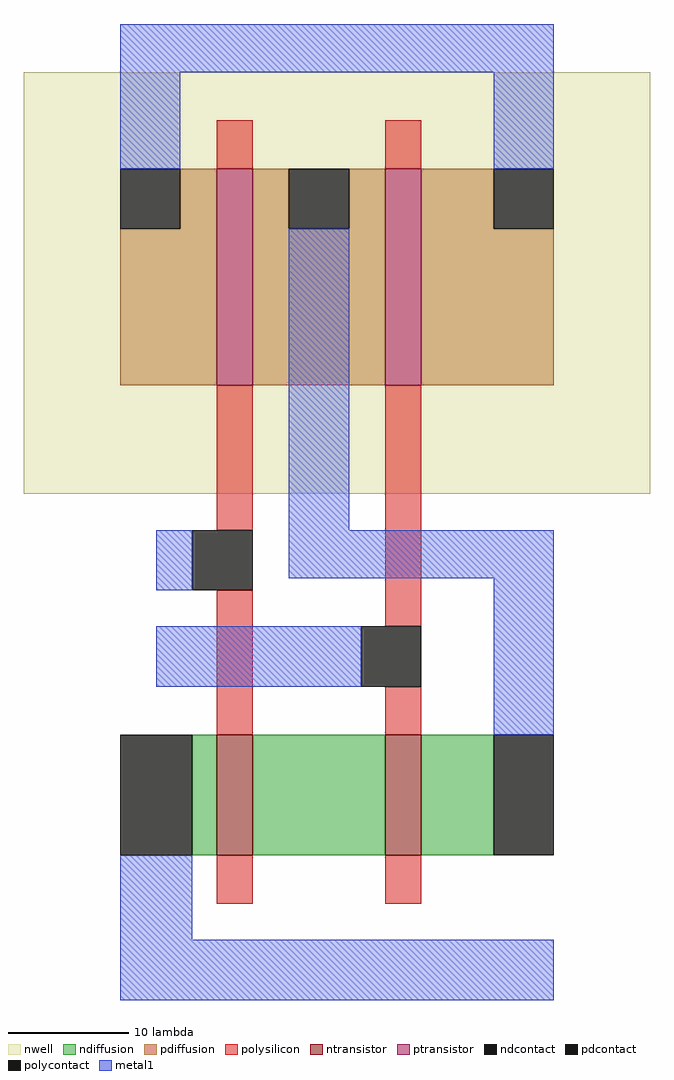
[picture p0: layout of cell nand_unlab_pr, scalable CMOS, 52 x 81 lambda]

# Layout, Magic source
magic
tech scmos
<< nwell >>
rect -24 -9 28 26
<< ntransistor >>
rect -8 -39 -5 -29
rect 6 -39 9 -29
<< ptransistor >>
rect -8 0 -5 18
rect 6 0 9 18
<< ndiffusion >>
rect -10 -39 -8 -29
rect -5 -39 6 -29
rect 9 -39 15 -29
<< pdiffusion >>
rect -11 13 -8 18
rect -16 0 -8 13
rect -5 13 -2 18
rect 3 13 6 18
rect -5 0 6 13
rect 9 13 15 18
rect 9 0 20 13
<< ndcontact >>
rect -16 -39 -10 -29
rect 15 -39 20 -29
<< pdcontact >>
rect -16 13 -11 18
rect -2 13 3 18
rect 15 13 20 18
<< polysilicon >>
rect -8 18 -5 22
rect 6 18 9 22
rect -8 -12 -5 0
rect -8 -29 -5 -17
rect 6 -20 9 0
rect 6 -29 9 -25
rect -8 -43 -5 -39
rect 6 -43 9 -39
<< polycontact >>
rect -10 -17 -5 -12
rect 4 -25 9 -20
<< metal1 >>
rect -16 26 20 30
rect -16 18 -11 26
rect 15 18 20 26
rect -2 -12 3 13
rect -13 -17 -10 -12
rect -2 -16 20 -12
rect -13 -25 4 -20
rect 15 -29 20 -16
rect -16 -46 -10 -39
rect -16 -51 20 -46
<< end >>
